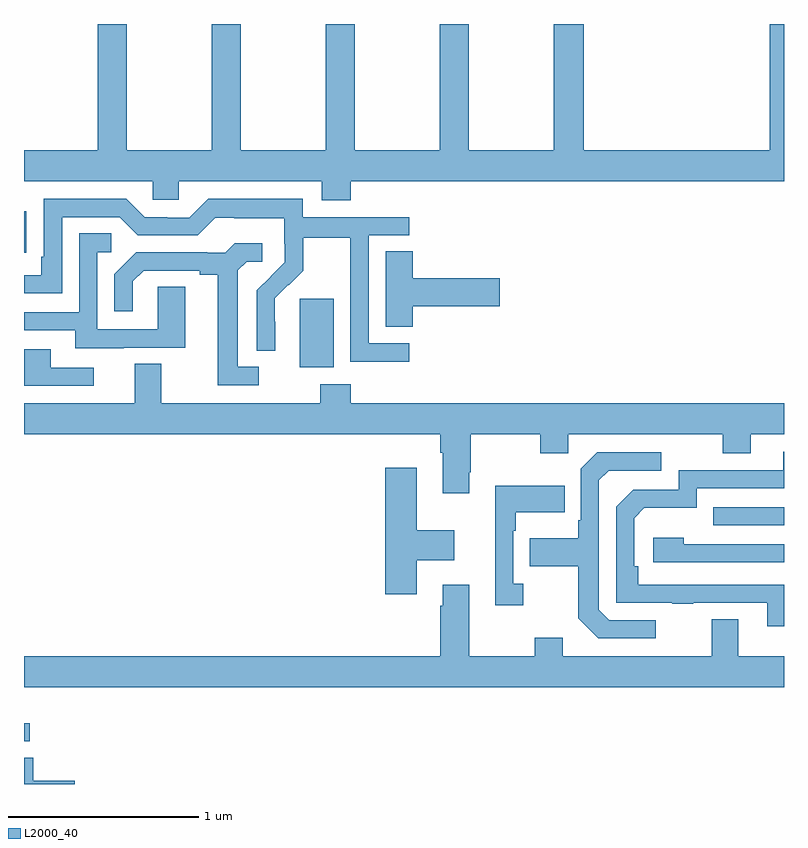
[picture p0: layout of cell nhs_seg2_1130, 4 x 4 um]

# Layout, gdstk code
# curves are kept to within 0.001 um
import gdstk
lib = gdstk.Library(unit=1e-6, precision=1e-09)
def R(c, l, rs):  # rectangles x0, y0, x1, y1
    for r in rs: c.add(gdstk.rectangle(r[:2], r[2:], *l))
def P(c, l, *ps):  # polygons
    for p in ps: c.add(gdstk.Polygon(p, *l))
L2000_40 = (2000, 40)

nhs_seg2_1130 = lib.new_cell('nhs_seg2_1130')
R(nhs_seg2_1130, L2000_40, [(169,642.024,169.03,642.12), (172.627,643.161,173,643.257), (170.45,643.994,170.629,644.355), (169,644.596,169.013,644.815)])
P(nhs_seg2_1130, L2000_40, [(173,645.8),(172.925,645.8),(172.925,645.136),(171.947,645.136),(171.947,645.8),(171.787,645.8),(171.787,645.136),(171.342,645.136),(171.342,645.8),(171.187,645.8),(171.187,645.136),(170.742,645.136),(170.742,645.8),(170.587,645.8),(170.587,645.136),(170.142,645.136),(170.142,645.8),(169.987,645.8),(169.987,645.136),(169.542,645.136),(169.542,645.8),(169.387,645.8),(169.387,645.136),(169,645.136),(169,644.972),(169.677,644.972),(169.677,644.874),(169.815,644.874),(169.815,644.972),(170.567,644.972),(170.567,644.873),(170.72,644.873),(170.72,644.972),(173,644.972)],
  [(171.028,644.121),(170.814,644.121),(170.814,644.688),(171.028,644.688),(171.028,644.784),(170.466,644.784),(170.466,644.881),(169.969,644.881),(169.869,644.781),(169.754,644.781),(169.754,644.784),(169.635,644.784),(169.539,644.88),(169.104,644.88),(169.104,644.575),(169.091,644.575),(169.091,644.478),(169,644.478),(169,644.382),(169.2,644.382),(169.2,644.784),(169.503,644.784),(169.599,644.688),(169.914,644.688),(170.007,644.781),(170.107,644.781),(170.107,644.777),(170.37,644.777),(170.37,644.643),(170.372,644.643),(170.372,644.546),(170.226,644.398),(170.226,644.08),(170.322,644.08),(170.321,644.357),(170.391,644.427),(170.394,644.424),(170.471,644.501),(170.471,644.676),(170.716,644.676),(170.716,644.452),(170.718,644.452),(170.718,644.023),(171.028,644.023)],
  [(169.525,644.097),(169.849,644.097),(169.849,644.417),(169.704,644.417),(169.704,644.193),(169.386,644.193),(169.386,644.598),(169.459,644.598),(169.459,644.699),(169.29,644.699),(169.29,644.283),(169,644.283),(169,644.187),(169.271,644.187),(169.271,644.093),(169.525,644.093)],
  [(170.236,643.995),(170.125,643.995),(170.125,644.503),(170.172,644.55),(170.254,644.55),(170.254,644.647),(170.11,644.647),(170.058,644.595),(169.964,644.595),(169.964,644.598),(169.592,644.598),(169.476,644.482),(169.476,644.289),(169.573,644.289),(169.573,644.445),(169.63,644.502),(169.925,644.502),(169.925,644.48),(170.021,644.48),(170.021,643.899),(170.236,643.899)],
  [(171.047,644.315),(171.505,644.315),(171.505,644.462),(171.047,644.462),(171.047,644.603),(170.903,644.603),(170.903,644.206),(171.047,644.206)],
  [(169.366,643.992),(169.141,643.992),(169.141,644.088),(169,644.088),(169,643.992),(169.001,643.992),(169.001,643.896),(169.366,643.896)],
  [(171.343,643.441),(171.351,643.441),(171.351,643.64),(171.718,643.64),(171.718,643.541),(171.864,643.541),(171.864,643.64),(172.678,643.64),(172.678,643.541),(172.825,643.541),(172.825,643.64),(173,643.64),(173,643.804),(170.72,643.804),(170.72,643.903),(170.56,643.903),(170.56,643.804),(169.723,643.804),(169.723,644.012),(169.583,644.012),(169.583,643.804),(169,643.804),(169,643.64),(171.191,643.64),(171.191,643.544),(171.203,643.544),(171.203,643.329),(171.343,643.329)],
  [(173,642.848),(172.232,642.849),(172.232,642.946),(172.212,642.946),(172.212,643.2),(172.265,643.253),(172.542,643.253),(172.542,643.356),(173,643.356),(173,643.548),(172.997,643.548),(172.997,643.452),(172.446,643.452),(172.446,643.35),(172.206,643.35),(172.116,643.26),(172.116,642.753),(172.411,642.753),(172.411,642.748),(172.523,642.748),(172.523,642.753),(172.913,642.753),(172.913,642.63),(173,642.63)],
  [(172.324,642.663),(172.08,642.663),(172.026,642.717),(172.026,643.398),(172.077,643.449),(172.354,643.449),(172.354,643.545),(172.017,643.545),(171.93,643.458),(171.93,643.189),(171.918,643.189),(171.918,643.093),(171.661,643.093),(171.661,642.946),(171.918,642.946),(171.918,642.673),(172.023,642.567),(172.324,642.567)],
  [(171.067,642.977),(171.265,642.977),(171.265,643.135),(171.067,643.135),(171.067,643.465),(170.9,643.465),(170.9,642.798),(171.067,642.798)],
  [(171.628,642.854),(171.576,642.854),(171.576,643.133),(171.589,643.133),(171.589,643.229),(171.845,643.229),(171.845,643.369),(171.479,643.369),(171.479,642.741),(171.628,642.741)],
  [(173,643.062),(172.472,643.062),(172.472,643.096),(172.311,643.096),(172.311,642.966),(173,642.966)],
  [(173,642.472),(172.759,642.472),(172.759,642.667),(172.619,642.667),(172.619,642.472),(171.835,642.472),(171.835,642.571),(171.688,642.571),(171.688,642.472),(171.343,642.472),(171.343,642.85),(171.203,642.85),(171.203,642.737),(171.191,642.737),(171.191,642.472),(169,642.472),(169,642.308),(173,642.308)],
  [(169.267,641.816),(169.049,641.816),(169.049,641.939),(169,641.939),(169,641.8),(169.267,641.8)])

lib.write_gds('nhs_seg2_1130.gds')
